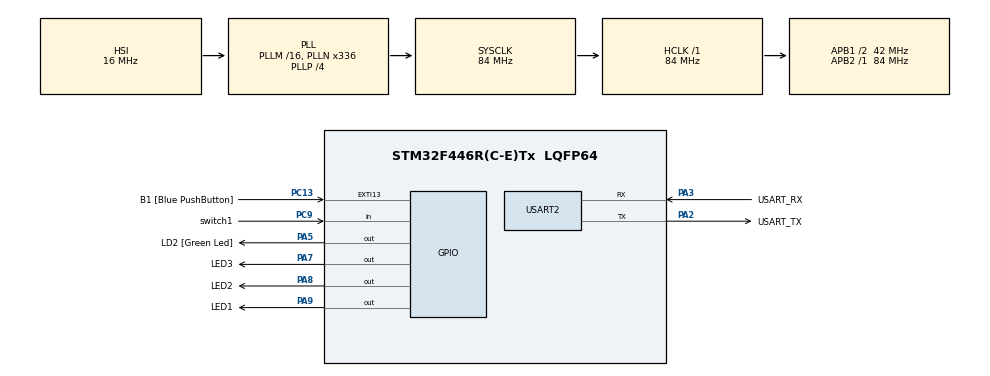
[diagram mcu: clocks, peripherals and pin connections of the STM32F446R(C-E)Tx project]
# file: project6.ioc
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Mcu.Family=STM32F4
Mcu.Name=STM32F446R(C-E)Tx
Mcu.Package=LQFP64
NVIC.PriorityGroup=NVIC_PRIORITYGROUP_0
NVIC.TIM6_DAC_IRQn=true\:0\:0\:false\:false\:true\:true\:true\:true
PA13.GPIO_Label=TMS
PA13.Mode=Serial_Wire
PA13.Signal=SYS_JTMS-SWDIO
PA14.GPIO_Label=TCK
PA14.Mode=Serial_Wire
PA14.Signal=SYS_JTCK-SWCLK
PA2.GPIO_Label=USART_TX
PA2.Mode=Asynchronous
PA2.Signal=USART2_TX
PA3.GPIO_Label=USART_RX
PA3.Mode=Asynchronous
PA3.Signal=USART2_RX
PA5.GPIO_Label=LD2 [Green Led]
PA5.Signal=GPIO_Output
PA7.GPIO_Label=LED3
PA7.Signal=GPIO_Output
PA8.GPIO_Label=LED2
PA8.Signal=GPIO_Output
PA9.GPIO_Label=LED1
PA9.Signal=GPIO_Output
PB3.GPIO_Label=SWO
PB3.Signal=SYS_JTDO-SWO
PC13.GPIO_Label=B1 [Blue PushButton]
PC13.GPIO_ModeDefaultEXTI=GPIO_MODE_IT_FALLING
PC13.Signal=GPXTI13
PC14-OSC32_IN.Mode=LSE-External-Oscillator
PC14-OSC32_IN.Signal=RCC_OSC32_IN
PC15-OSC32_OUT.Mode=LSE-External-Oscillator
PC15-OSC32_OUT.Signal=RCC_OSC32_OUT
PC9.GPIO_Label=switch1
PC9.GPIO_PuPd=GPIO_PULLUP
PC9.Signal=GPIO_Input
PH0-OSC_IN.Mode=HSE-External-Oscillator
PH0-OSC_IN.Signal=RCC_OSC_IN
PH1-OSC_OUT.Mode=HSE-External-Oscillator
PH1-OSC_OUT.Signal=RCC_OSC_OUT
ProjectManager.HeapSize=0x200
ProjectManager.StackSize=0x400
ProjectManager.TargetToolchain=STM32CubeIDE
RCC.48MHZClocksFreq_Value=84000000
RCC.AHBFreq_Value=84000000
RCC.APB1CLKDivider=RCC_HCLK_DIV2
RCC.APB1Freq_Value=42000000
RCC.APB1TimFreq_Value=84000000
RCC.APB2Freq_Value=84000000
RCC.APB2TimFreq_Value=84000000
RCC.CortexFreq_Value=84000000
RCC.FLatency-AdvancedSettings=FLASH_LATENCY_2
RCC.HCLKFreq_Value=84000000
RCC.HSE_VALUE=8000000
RCC.HSI_VALUE=16000000
RCC.PLLN=336
RCC.PLLP=RCC_PLLP_DIV4
RCC.SYSCLKFreq_VALUE=84000000
RCC.SYSCLKSource=RCC_SYSCLKSOURCE_PLLCLK
RCC.USBFreq_Value=168000000
RCC.VCOOutputFreq_Value=336000000
TIM6.Period=5000
TIM6.Prescaler=8399
USART2.VirtualMode=VM_ASYNC
VP_TIM6_VS_ClockSourceINT.Mode=Enable_Timer
board=NUCLEO-F446RE

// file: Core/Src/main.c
/* USER CODE BEGIN Header */
/**
  ******************************************************************************
  * @file           : main.c
  * @brief          : Main program body
  ******************************************************************************
  * @attention
  *
  * Copyright (c) 2024 STMicroelectronics.
  * All rights reserved.
  *
  * This software is licensed under terms that can be found in the LICENSE file
  * in the root directory of this software component.
  * If no LICENSE file comes with this software, it is provided AS-IS.
  *
  ******************************************************************************
  */
/* USER CODE END Header */
#include "main.h"

UART_HandleTypeDef huart2;
TIM_HandleTypeDef htim6;

/* USER CODE BEGIN PV */
uint8_t switchPressCount = 0;
/* USER CODE END PV */

void SystemClock_Config(void);
static void MX_GPIO_Init(void);
static void MX_USART2_UART_Init(void);
static void MX_TIM6_Init(void);
/* USER CODE BEGIN PFP */
void HAL_TIM_PeriodElapsedCallback(TIM_HandleTypeDef *htim);
/* USER CODE END PFP */

int main(void)
{

  /* MCU Configuration--------------------------------------------------------*/

  /* Reset of all peripherals, Initializes the Flash interface and the Systick. */
  HAL_Init();

  /* Configure the system clock */
  SystemClock_Config();

  /* Initialize all configured peripherals */
  MX_GPIO_Init();
  MX_USART2_UART_Init();
  MX_TIM6_Init();
  /* USER CODE BEGIN 2 */
  HAL_TIM_Base_Start_IT(&htim6); // Start Timer 6 with interrupt
  /* USER CODE END 2 */

  /* Infinite loop */
  /* USER CODE BEGIN WHILE */
  while (1)
  {
    /* Main loop can remain empty; functionality is handled in Timer 6 interrupt */
    /* USER CODE END WHILE */

  }
}

void SystemClock_Config(void)
{
  RCC_OscInitTypeDef RCC_OscInitStruct = {0};
  RCC_ClkInitTypeDef RCC_ClkInitStruct = {0};

  /** Configure the main internal regulator output voltage
  */
  __HAL_RCC_PWR_CLK_ENABLE();
  __HAL_PWR_VOLTAGESCALING_CONFIG(PWR_REGULATOR_VOLTAGE_SCALE3);

  /** Initializes the RCC Oscillators according to the specified parameters
  * in the RCC_OscInitTypeDef structure.
  */
  RCC_OscInitStruct.OscillatorType = RCC_OSCILLATORTYPE_HSI;
  RCC_OscInitStruct.HSIState = RCC_HSI_ON;
  RCC_OscInitStruct.HSICalibrationValue = RCC_HSICALIBRATION_DEFAULT;
  RCC_OscInitStruct.PLL.PLLState = RCC_PLL_ON;
  RCC_OscInitStruct.PLL.PLLSource = RCC_PLLSOURCE_HSI;
  RCC_OscInitStruct.PLL.PLLM = 16;
  RCC_OscInitStruct.PLL.PLLN = 336;
  RCC_OscInitStruct.PLL.PLLP = RCC_PLLP_DIV4;
  RCC_OscInitStruct.PLL.PLLQ = 2;
  RCC_OscInitStruct.PLL.PLLR = 2;
  if (HAL_RCC_OscConfig(&RCC_OscInitStruct) != HAL_OK)
  {
    Error_Handler();
  }

  /** Initializes the CPU, AHB and APB buses clocks
  */
  RCC_ClkInitStruct.ClockType = RCC_CLOCKTYPE_HCLK|RCC_CLOCKTYPE_SYSCLK
                              |RCC_CLOCKTYPE_PCLK1|RCC_CLOCKTYPE_PCLK2;
  RCC_ClkInitStruct.SYSCLKSource = RCC_SYSCLKSOURCE_PLLCLK;
  RCC_ClkInitStruct.AHBCLKDivider = RCC_SYSCLK_DIV1;
  RCC_ClkInitStruct.APB1CLKDivider = RCC_HCLK_DIV2;
  RCC_ClkInitStruct.APB2CLKDivider = RCC_HCLK_DIV1;

  if (HAL_RCC_ClockConfig(&RCC_ClkInitStruct, FLASH_LATENCY_2) != HAL_OK)
  {
    Error_Handler();
  }
}

static void MX_USART2_UART_Init(void)
{

  huart2.Instance = USART2;
  huart2.Init.BaudRate = 115200;
  huart2.Init.WordLength = UART_WORDLENGTH_8B;
  huart2.Init.StopBits = UART_STOPBITS_1;
  huart2.Init.Parity = UART_PARITY_NONE;
  huart2.Init.Mode = UART_MODE_TX_RX;
  huart2.Init.HwFlowCtl = UART_HWCONTROL_NONE;
  huart2.Init.OverSampling = UART_OVERSAMPLING_16;
  if (HAL_UART_Init(&huart2) != HAL_OK)
  {
    Error_Handler();
  }

}

static void MX_GPIO_Init(void)
{
  GPIO_InitTypeDef GPIO_InitStruct = {0};

  /* GPIO Ports Clock Enable */
  __HAL_RCC_GPIOC_CLK_ENABLE();
  __HAL_RCC_GPIOH_CLK_ENABLE();
  __HAL_RCC_GPIOA_CLK_ENABLE();
  __HAL_RCC_GPIOB_CLK_ENABLE();

  /*Configure GPIO pin Output Level */
  HAL_GPIO_WritePin(GPIOA, LD2_Pin|LED3_Pin|LED2_Pin|LED1_Pin, GPIO_PIN_RESET);

  /*Configure GPIO pin : B1_Pin */
  GPIO_InitStruct.Pin = B1_Pin;
  GPIO_InitStruct.Mode = GPIO_MODE_IT_FALLING;
  GPIO_InitStruct.Pull = GPIO_NOPULL;
  HAL_GPIO_Init(B1_GPIO_Port, &GPIO_InitStruct);

  /*Configure GPIO pins : LD2_Pin LED3_Pin LED2_Pin LED1_Pin */
  GPIO_InitStruct.Pin = LD2_Pin|LED3_Pin|LED2_Pin|LED1_Pin;
  GPIO_InitStruct.Mode = GPIO_MODE_OUTPUT_PP;
  GPIO_InitStruct.Pull = GPIO_NOPULL;
  GPIO_InitStruct.Speed = GPIO_SPEED_FREQ_LOW;
  HAL_GPIO_Init(GPIOA, &GPIO_InitStruct);

  /*Configure GPIO pin : switch1_Pin */
  GPIO_InitStruct.Pin = switch1_Pin;
  GPIO_InitStruct.Mode = GPIO_MODE_INPUT;
  GPIO_InitStruct.Pull = GPIO_PULLUP;
  HAL_GPIO_Init(switch1_GPIO_Port, &GPIO_InitStruct);

}

static void MX_TIM6_Init(void)
{
  TIM_MasterConfigTypeDef sMasterConfig = {0};

  htim6.Instance = TIM6;
  htim6.Init.Prescaler = 8399; // Adjust this value for the desired frequency
  htim6.Init.CounterMode = TIM_COUNTERMODE_UP;
  htim6.Init.Period = 9999; // Adjust this value for the desired period
  htim6.Init.AutoReloadPreload = TIM_AUTORELOAD_PRELOAD_DISABLE;
  if (HAL_TIM_Base_Init(&htim6) != HAL_OK)
  {
    Error_Handler();
  }
  sMasterConfig.MasterOutputTrigger = TIM_TRGO_RESET;
  sMasterConfig.MasterSlaveMode = TIM_MASTERSLAVEMODE_DISABLE;
  if (HAL_TIMEx_MasterConfigSynchronization(&htim6, &sMasterConfig) != HAL_OK)
  {
    Error_Handler();
  }

  /* Enable Timer 6 interrupt */
  HAL_NVIC_SetPriority(TIM6_DAC_IRQn, 0, 0);
  HAL_NVIC_EnableIRQ(TIM6_DAC_IRQn);
}

/* USER CODE BEGIN 4 */
/**
  * @brief This function handles TIM6 global interrupt.
  */
void TIM6_DAC1_IRQHandler(void)
{
  HAL_TIM_IRQHandler(&htim6);
}

/**
  * @brief Period elapsed callback in non-blocking mode
  * @param htim: TIM handle
  */
void HAL_TIM_PeriodElapsedCallback(TIM_HandleTypeDef *htim)
{
  if (htim->Instance == TIM6)
  {
    // Check button state and update LEDs
    if (HAL_GPIO_ReadPin(GPIOC, switch1_Pin) == GPIO_PIN_RESET) // Assuming active-low switch
    {
      // Increment the switch press count
      switchPressCount++;

      // Turn on the corresponding LED based on the switch press count
      if (switchPressCount == 1)
      {
        HAL_GPIO_WritePin(GPIOA, LED1_Pin, GPIO_PIN_SET);
      }
      else if (switchPressCount == 2)
      {
        HAL_GPIO_WritePin(GPIOA, LED2_Pin, GPIO_PIN_SET);
      }
      else if (switchPressCount == 3)
      {
        HAL_GPIO_WritePin(GPIOA, LED3_Pin, GPIO_PIN_SET);
      }

      // Wait until the button is released
      while (HAL_GPIO_ReadPin(GPIOC, switch1_Pin) == GPIO_PIN_RESET);

      // Turn off all LEDs after releasing the switch
      HAL_GPIO_WritePin(GPIOA, LED1_Pin, GPIO_PIN_RESET);
      HAL_GPIO_WritePin(GPIOA, LED2_Pin, GPIO_PIN_RESET);
      HAL_GPIO_WritePin(GPIOA, LED3_Pin, GPIO_PIN_RESET);

      // Reset the switch press count after the third press
      if (switchPressCount == 3)
      {
        switchPressCount = 0;
      }
    }
  }
}
/* USER CODE END 4 */

void Error_Handler(void)
{
  __disable_irq();
  while (1)
  {
  }
}
